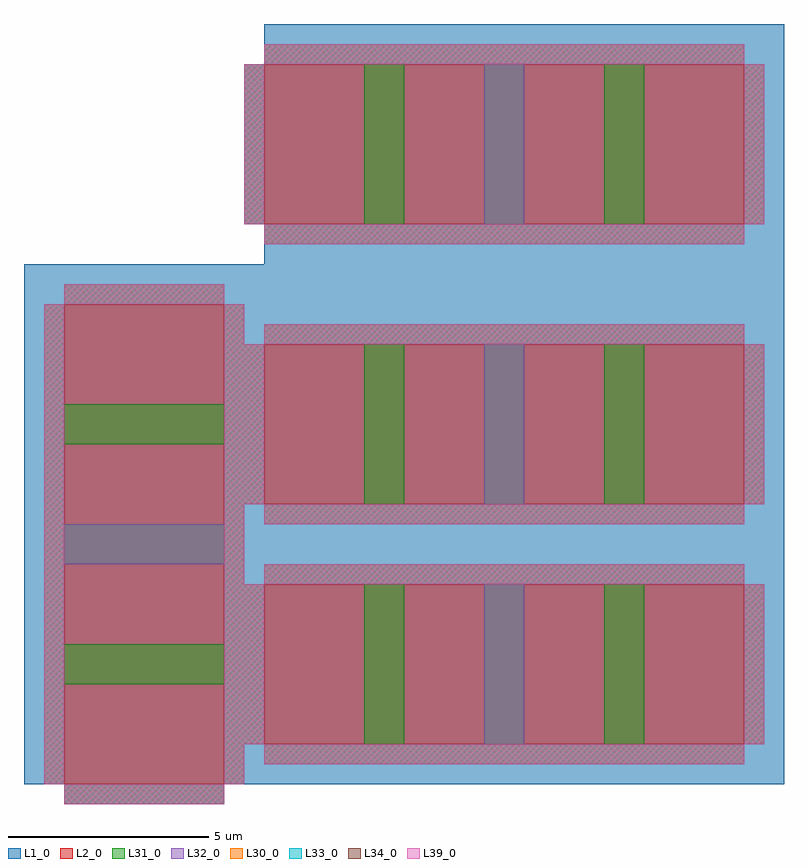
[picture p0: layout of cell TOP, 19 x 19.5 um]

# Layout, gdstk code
from math import pi, radians
import gdstk
lib = gdstk.Library(unit=1e-6, precision=1e-09)
def R(c, l, rs):  # rectangles x0, y0, x1, y1
    for r in rs: c.add(gdstk.rectangle(r[:2], r[2:], *l))
L1_0 = (1, 0)
L2_0 = (2, 0)
L10_0 = (10, 0)
L11_0 = (11, 0)
L12_0 = (12, 0)
L13_0 = (13, 0)
L14_0 = (14, 0)
L19_0 = (19, 0)
L20_0 = (20, 0)
L21_0 = (21, 0)
L22_0 = (22, 0)
L23_0 = (23, 0)
L24_0 = (24, 0)
L29_0 = (29, 0)
L30_0 = (30, 0)
L31_0 = (31, 0)
L32_0 = (32, 0)
L33_0 = (33, 0)
L34_0 = (34, 0)
L39_0 = (39, 0)

c_a = lib.new_cell('A')
R(c_a, L1_0, [(0,0,4,6)])
R(c_a, L2_0, [(0,1,3,5)])
R(c_a, L31_0, [(0,0.5,3,1), (-0.5,1,0,5), (3,1,3.5,5), (0,5,3,5.5)])
c_a.add(gdstk.FlexPath([(0,0),(0,1)], 0, ends="flush", simple_path=True, layer=11, datatype=0))  # L11_0
c_a.add(gdstk.FlexPath([(0,6),(4,6)], 0, ends="flush", simple_path=True, layer=11, datatype=0))  # L11_0
c_a.add(gdstk.FlexPath([(4,6),(4,0)], 0, ends="flush", simple_path=True, layer=11, datatype=0))  # L11_0
c_a.add(gdstk.FlexPath([(0,5),(0,6)], 0, ends="flush", simple_path=True, layer=11, datatype=0))  # L11_0
c_a.add(gdstk.FlexPath([(4,0),(0,0)], 0, ends="flush", simple_path=True, layer=11, datatype=0))  # L11_0
c_a.add(gdstk.FlexPath([(4,0),(0,0)], 0, ends="flush", simple_path=True, layer=12, datatype=0))  # L12_0
c_a.add(gdstk.FlexPath([(0,6),(4,6)], 0, ends="flush", simple_path=True, layer=12, datatype=0))  # L12_0
c_a.add(gdstk.FlexPath([(4,0),(0,0)], 0, ends="flush", simple_path=True, layer=13, datatype=0))  # L13_0
c_a.add(gdstk.FlexPath([(0,6),(4,6)], 0, ends="flush", simple_path=True, layer=13, datatype=0))  # L13_0
c_a.add(gdstk.FlexPath([(0,0),(0,1)], 0, ends="flush", simple_path=True, layer=21, datatype=0))  # L21_0
c_a.add(gdstk.FlexPath([(0,6),(4,6)], 0, ends="flush", simple_path=True, layer=21, datatype=0))  # L21_0
c_a.add(gdstk.FlexPath([(4,6),(4,0)], 0, ends="flush", simple_path=True, layer=21, datatype=0))  # L21_0
c_a.add(gdstk.FlexPath([(0,5),(0,6)], 0, ends="flush", simple_path=True, layer=21, datatype=0))  # L21_0
c_a.add(gdstk.FlexPath([(4,0),(0,0)], 0, ends="flush", simple_path=True, layer=21, datatype=0))  # L21_0
c_a.add(gdstk.FlexPath([(4,0),(0,0)], 0, ends="flush", simple_path=True, layer=22, datatype=0))  # L22_0
c_a.add(gdstk.FlexPath([(0,6),(4,6)], 0, ends="flush", simple_path=True, layer=22, datatype=0))  # L22_0
c_a.add(gdstk.FlexPath([(4,0),(0,0)], 0, ends="flush", simple_path=True, layer=23, datatype=0))  # L23_0
c_a.add(gdstk.FlexPath([(0,6),(4,6)], 0, ends="flush", simple_path=True, layer=23, datatype=0))  # L23_0

c_b = lib.new_cell('B')
R(c_b, L32_0, [(0,0.5,6,1), (-0.5,1,0,5), (6,1,6.5,5), (0,5,6,5.5)])
c_b.add(gdstk.FlexPath([(0,5),(0,6)], 0, ends="flush", simple_path=True, layer=12, datatype=0))  # L12_0
c_b.add(gdstk.FlexPath([(0,0),(0,1)], 0, ends="flush", simple_path=True, layer=12, datatype=0))  # L12_0
c_b.add(gdstk.FlexPath([(7,6),(7,0)], 0, ends="flush", simple_path=True, layer=12, datatype=0))  # L12_0
c_b.add(gdstk.FlexPath([(0,5),(0,6)], 0, ends="flush", simple_path=True, layer=22, datatype=0))  # L22_0
c_b.add(gdstk.FlexPath([(0,0),(0,1)], 0, ends="flush", simple_path=True, layer=22, datatype=0))  # L22_0
c_b.add(gdstk.FlexPath([(7,6),(7,0)], 0, ends="flush", simple_path=True, layer=22, datatype=0))  # L22_0
c_b.add(gdstk.Reference(c_a, (0,0)))
c_b.add(gdstk.Reference(c_a, (3,0)))

c_c = lib.new_cell('C')
R(c_c, L30_0, [(0,0.5,12,1), (-0.5,1,0,5), (12,1,12.5,5), (0,5,12,5.5)])
R(c_c, L33_0, [(0,0.5,12,1), (-0.5,1,0,5), (12,1,12.5,5), (0,5,12,5.5)])
R(c_c, L34_0, [(0,0.5,12,1), (-0.5,1,0,5), (12,1,12.5,5), (0,5,12,5.5)])
R(c_c, L39_0, [(0,0.5,12,1), (-0.5,1,0,5), (12,1,12.5,5), (0,5,12,5.5)])
c_c.add(gdstk.FlexPath([(13,6),(13,0)], 0, ends="flush", simple_path=True, layer=10, datatype=0))  # L10_0
c_c.add(gdstk.FlexPath([(0,5),(0,6)], 0, ends="flush", simple_path=True, layer=13, datatype=0))  # L13_0
c_c.add(gdstk.FlexPath([(0,0),(0,1)], 0, ends="flush", simple_path=True, layer=13, datatype=0))  # L13_0
c_c.add(gdstk.FlexPath([(13,6),(13,0)], 0, ends="flush", simple_path=True, layer=13, datatype=0))  # L13_0
c_c.add(gdstk.FlexPath([(13,6),(13,0)], 0, ends="flush", simple_path=True, layer=14, datatype=0))  # L14_0
c_c.add(gdstk.FlexPath([(13,6),(13,0)], 0, ends="flush", simple_path=True, layer=19, datatype=0))  # L19_0
c_c.add(gdstk.FlexPath([(13,6),(13,0)], 0, ends="flush", simple_path=True, layer=20, datatype=0))  # L20_0
c_c.add(gdstk.FlexPath([(0,5),(0,6)], 0, ends="flush", simple_path=True, layer=23, datatype=0))  # L23_0
c_c.add(gdstk.FlexPath([(0,0),(0,1)], 0, ends="flush", simple_path=True, layer=23, datatype=0))  # L23_0
c_c.add(gdstk.FlexPath([(13,6),(13,0)], 0, ends="flush", simple_path=True, layer=23, datatype=0))  # L23_0
c_c.add(gdstk.FlexPath([(13,6),(13,0)], 0, ends="flush", simple_path=True, layer=24, datatype=0))  # L24_0
c_c.add(gdstk.FlexPath([(13,6),(13,0)], 0, ends="flush", simple_path=True, layer=29, datatype=0))  # L29_0
c_c.add(gdstk.Reference(c_b, (0,0)))
c_c.add(gdstk.Reference(c_b, (6,0)))

c_d = lib.new_cell('D')
R(c_d, L1_0, [(0,12,13,13)])
c_d.add(gdstk.FlexPath([(0,0),(-1,0)], 0, ends="flush", simple_path=True, layer=10, datatype=0))  # L10_0
c_d.add(gdstk.FlexPath([(-5,0),(-6,0)], 0, ends="flush", simple_path=True, layer=10, datatype=0))  # L10_0
c_d.add(gdstk.FlexPath([(13,13),(13,12)], 0, ends="flush", simple_path=True, layer=10, datatype=0))  # L10_0
c_d.add(gdstk.FlexPath([(-6,0),(-6,13)], 0, ends="flush", simple_path=True, layer=10, datatype=0))  # L10_0
c_d.add(gdstk.FlexPath([(13,0),(0,0)], 0, ends="flush", simple_path=True, layer=10, datatype=0))  # L10_0
c_d.add(gdstk.FlexPath([(13,13),(13,12)], 0, ends="flush", simple_path=True, layer=11, datatype=0))  # L11_0
c_d.add(gdstk.FlexPath([(13,13),(13,12)], 0, ends="flush", simple_path=True, layer=12, datatype=0))  # L12_0
c_d.add(gdstk.FlexPath([(0,13),(13,13)], 0, ends="flush", simple_path=True, layer=13, datatype=0))  # L13_0
c_d.add(gdstk.FlexPath([(13,13),(13,12)], 0, ends="flush", simple_path=True, layer=13, datatype=0))  # L13_0
c_d.add(gdstk.FlexPath([(13,12),(0,12)], 0, ends="flush", simple_path=True, layer=13, datatype=0))  # L13_0
c_d.add(gdstk.FlexPath([(0,12),(0,13)], 0, ends="flush", simple_path=True, layer=13, datatype=0))  # L13_0
c_d.add(gdstk.FlexPath([(0,0),(-1,0)], 0, ends="flush", simple_path=True, layer=14, datatype=0))  # L14_0
c_d.add(gdstk.FlexPath([(0,13),(13,13)], 0, ends="flush", simple_path=True, layer=14, datatype=0))  # L14_0
c_d.add(gdstk.FlexPath([(-5,0),(-6,0)], 0, ends="flush", simple_path=True, layer=14, datatype=0))  # L14_0
c_d.add(gdstk.FlexPath([(13,13),(13,12)], 0, ends="flush", simple_path=True, layer=14, datatype=0))  # L14_0
c_d.add(gdstk.FlexPath([(-6,0),(-6,13)], 0, ends="flush", simple_path=True, layer=14, datatype=0))  # L14_0
c_d.add(gdstk.FlexPath([(13,0),(0,0)], 0, ends="flush", simple_path=True, layer=14, datatype=0))  # L14_0
c_d.add(gdstk.FlexPath([(0,0),(-1,0)], 0, ends="flush", simple_path=True, layer=19, datatype=0))  # L19_0
c_d.add(gdstk.FlexPath([(-5,0),(-6,0)], 0, ends="flush", simple_path=True, layer=19, datatype=0))  # L19_0
c_d.add(gdstk.FlexPath([(13,13),(13,12)], 0, ends="flush", simple_path=True, layer=19, datatype=0))  # L19_0
c_d.add(gdstk.FlexPath([(-6,0),(-6,13)], 0, ends="flush", simple_path=True, layer=19, datatype=0))  # L19_0
c_d.add(gdstk.FlexPath([(13,0),(0,0)], 0, ends="flush", simple_path=True, layer=19, datatype=0))  # L19_0
c_d.add(gdstk.FlexPath([(0,0),(-1,0)], 0, ends="flush", simple_path=True, layer=20, datatype=0))  # L20_0
c_d.add(gdstk.FlexPath([(-5,0),(-6,0)], 0, ends="flush", simple_path=True, layer=20, datatype=0))  # L20_0
c_d.add(gdstk.FlexPath([(13,13),(13,12)], 0, ends="flush", simple_path=True, layer=20, datatype=0))  # L20_0
c_d.add(gdstk.FlexPath([(-6,0),(-6,13)], 0, ends="flush", simple_path=True, layer=20, datatype=0))  # L20_0
c_d.add(gdstk.FlexPath([(13,0),(0,0)], 0, ends="flush", simple_path=True, layer=20, datatype=0))  # L20_0
c_d.add(gdstk.FlexPath([(13,13),(13,12)], 0, ends="flush", simple_path=True, layer=21, datatype=0))  # L21_0
c_d.add(gdstk.FlexPath([(13,13),(13,12)], 0, ends="flush", simple_path=True, layer=22, datatype=0))  # L22_0
c_d.add(gdstk.FlexPath([(0,13),(13,13)], 0, ends="flush", simple_path=True, layer=23, datatype=0))  # L23_0
c_d.add(gdstk.FlexPath([(13,13),(13,12)], 0, ends="flush", simple_path=True, layer=23, datatype=0))  # L23_0
c_d.add(gdstk.FlexPath([(13,12),(0,12)], 0, ends="flush", simple_path=True, layer=23, datatype=0))  # L23_0
c_d.add(gdstk.FlexPath([(0,12),(0,13)], 0, ends="flush", simple_path=True, layer=23, datatype=0))  # L23_0
c_d.add(gdstk.FlexPath([(0,0),(-1,0)], 0, ends="flush", simple_path=True, layer=24, datatype=0))  # L24_0
c_d.add(gdstk.FlexPath([(0,13),(13,13)], 0, ends="flush", simple_path=True, layer=24, datatype=0))  # L24_0
c_d.add(gdstk.FlexPath([(-5,0),(-6,0)], 0, ends="flush", simple_path=True, layer=24, datatype=0))  # L24_0
c_d.add(gdstk.FlexPath([(13,13),(13,12)], 0, ends="flush", simple_path=True, layer=24, datatype=0))  # L24_0
c_d.add(gdstk.FlexPath([(-6,0),(-6,13)], 0, ends="flush", simple_path=True, layer=24, datatype=0))  # L24_0
c_d.add(gdstk.FlexPath([(13,0),(0,0)], 0, ends="flush", simple_path=True, layer=24, datatype=0))  # L24_0
c_d.add(gdstk.FlexPath([(0,0),(-1,0)], 0, ends="flush", simple_path=True, layer=29, datatype=0))  # L29_0
c_d.add(gdstk.FlexPath([(-5,0),(-6,0)], 0, ends="flush", simple_path=True, layer=29, datatype=0))  # L29_0
c_d.add(gdstk.FlexPath([(13,13),(13,12)], 0, ends="flush", simple_path=True, layer=29, datatype=0))  # L29_0
c_d.add(gdstk.FlexPath([(-6,0),(-6,13)], 0, ends="flush", simple_path=True, layer=29, datatype=0))  # L29_0
c_d.add(gdstk.FlexPath([(13,0),(0,0)], 0, ends="flush", simple_path=True, layer=29, datatype=0))  # L29_0
c_d.add(gdstk.Reference(c_c, (0,0)))
c_d.add(gdstk.Reference(c_c, (0,6)))
c_d.add(gdstk.Reference(c_c, (0,0), rotation=pi/2))

top = lib.new_cell('TOP')
top.add(gdstk.FlexPath([(0,18),(0,19)], 0, ends="flush", simple_path=True, layer=10, datatype=0))  # L10_0
top.add(gdstk.FlexPath([(0,13),(0,14)], 0, ends="flush", simple_path=True, layer=10, datatype=0))  # L10_0
top.add(gdstk.FlexPath([(0,19),(13,19)], 0, ends="flush", simple_path=True, layer=10, datatype=0))  # L10_0
top.add(gdstk.FlexPath([(0,18),(0,19)], 0, ends="flush", simple_path=True, layer=14, datatype=0))  # L14_0
top.add(gdstk.FlexPath([(0,13),(0,14)], 0, ends="flush", simple_path=True, layer=14, datatype=0))  # L14_0
top.add(gdstk.FlexPath([(0,19),(13,19)], 0, ends="flush", simple_path=True, layer=14, datatype=0))  # L14_0
top.add(gdstk.FlexPath([(13,13),(0,13)], 0, ends="flush", simple_path=True, layer=14, datatype=0))  # L14_0
top.add(gdstk.FlexPath([(0,18),(0,19)], 0, ends="flush", simple_path=True, layer=19, datatype=0))  # L19_0
top.add(gdstk.FlexPath([(0,13),(0,14)], 0, ends="flush", simple_path=True, layer=19, datatype=0))  # L19_0
top.add(gdstk.FlexPath([(0,19),(13,19)], 0, ends="flush", simple_path=True, layer=19, datatype=0))  # L19_0
top.add(gdstk.FlexPath([(0,18),(0,19)], 0, ends="flush", simple_path=True, layer=20, datatype=0))  # L20_0
top.add(gdstk.FlexPath([(0,13),(0,14)], 0, ends="flush", simple_path=True, layer=20, datatype=0))  # L20_0
top.add(gdstk.FlexPath([(0,19),(13,19)], 0, ends="flush", simple_path=True, layer=20, datatype=0))  # L20_0
top.add(gdstk.FlexPath([(0,18),(0,19)], 0, ends="flush", simple_path=True, layer=24, datatype=0))  # L24_0
top.add(gdstk.FlexPath([(0,13),(0,14)], 0, ends="flush", simple_path=True, layer=24, datatype=0))  # L24_0
top.add(gdstk.FlexPath([(0,19),(13,19)], 0, ends="flush", simple_path=True, layer=24, datatype=0))  # L24_0
top.add(gdstk.FlexPath([(13,13),(0,13)], 0, ends="flush", simple_path=True, layer=24, datatype=0))  # L24_0
top.add(gdstk.FlexPath([(0,18),(0,19)], 0, ends="flush", simple_path=True, layer=29, datatype=0))  # L29_0
top.add(gdstk.FlexPath([(0,13),(0,14)], 0, ends="flush", simple_path=True, layer=29, datatype=0))  # L29_0
top.add(gdstk.FlexPath([(0,19),(13,19)], 0, ends="flush", simple_path=True, layer=29, datatype=0))  # L29_0
top.add(gdstk.Reference(c_d, (0,0)))
top.add(gdstk.Reference(c_c, (0,13)))

lib.write_gds('TOP.gds')
